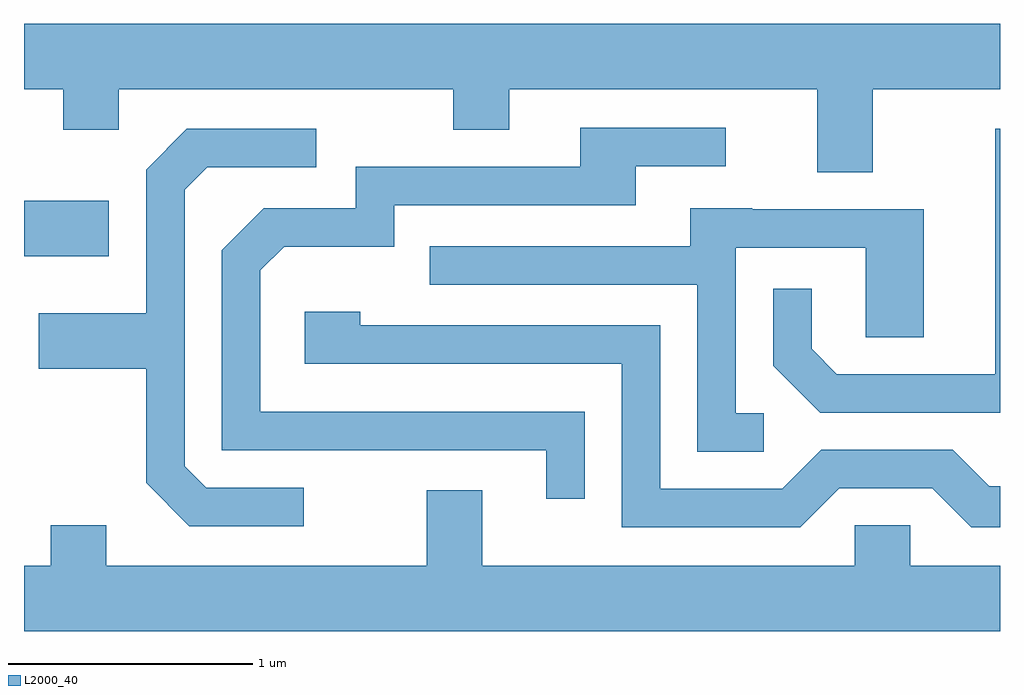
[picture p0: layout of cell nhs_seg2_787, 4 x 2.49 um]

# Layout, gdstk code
import gdstk
lib = gdstk.Library(unit=1e-6, precision=1e-09)
def R(c, l, rs):  # rectangles x0, y0, x1, y1
    for r in rs: c.add(gdstk.rectangle(r[:2], r[2:], *l))
def P(c, l, *ps):  # polygons
    for p in ps: c.add(gdstk.Polygon(p, *l))
L2000_40 = (2000, 40)

nhs_seg2_787 = lib.new_cell('nhs_seg2_787')
R(nhs_seg2_787, L2000_40, [(207.611,1058.731,207.959,1058.959)])
P(nhs_seg2_787, L2000_40, [(211.089,1059.416),(211.611,1059.416),(211.611,1059.684),(207.611,1059.684),(207.611,1059.416),(207.771,1059.416),(207.771,1059.251),(207.999,1059.251),(207.999,1059.416),(209.371,1059.416),(209.371,1059.251),(209.599,1059.251),(209.599,1059.416),(210.861,1059.416),(210.861,1059.076),(211.089,1059.076)],
  [(209.909,1058.094),(208.579,1058.094),(208.579,1058.674),(208.677,1058.771),(209.129,1058.771),(209.129,1058.941),(210.119,1058.941),(210.119,1059.101),(210.488,1059.101),(210.488,1059.259),(209.891,1059.259),(209.891,1059.099),(208.971,1059.099),(208.971,1058.929),(208.594,1058.929),(208.421,1058.757),(208.421,1057.936),(209.751,1057.936),(209.751,1057.738),(209.909,1057.738)],
  [(208.758,1057.784),(208.357,1057.784),(208.269,1057.872),(208.269,1059.004),(208.362,1059.096),(208.808,1059.096),(208.808,1059.254),(208.279,1059.254),(208.111,1059.087),(208.111,1058.499),(207.671,1058.499),(207.671,1058.271),(208.111,1058.271),(208.111,1057.804),(208.289,1057.626),(208.758,1057.626)],
  [(211.611,1059.254),(211.591,1059.254),(211.591,1058.249),(210.942,1058.249),(210.839,1058.352),(210.839,1058.598),(210.681,1058.598),(210.681,1058.284),(210.874,1058.091),(211.611,1058.091)],
  [(210.643,1058.089),(210.529,1058.089),(210.529,1058.766),(211.061,1058.766),(211.061,1058.401),(211.299,1058.401),(211.299,1058.924),(210.595,1058.924),(210.595,1058.929),(210.341,1058.929),(210.341,1058.774),(209.273,1058.774),(209.273,1058.616),(210.371,1058.616),(210.371,1057.931),(210.643,1057.931)],
  [(210.952,1057.781),(211.334,1057.781),(211.494,1057.621),(211.611,1057.621),(211.611,1057.789),(211.567,1057.789),(211.417,1057.939),(210.879,1057.939),(210.719,1057.779),(210.219,1057.779),(210.219,1058.449),(208.989,1058.449),(208.989,1058.504),(208.761,1058.504),(208.761,1058.291),(210.061,1058.291),(210.061,1057.621),(210.792,1057.621)],
  [(211.611,1057.464),(211.244,1057.464),(211.244,1057.629),(211.016,1057.629),(211.016,1057.464),(209.489,1057.464),(209.489,1057.774),(209.261,1057.774),(209.261,1057.464),(207.949,1057.464),(207.949,1057.629),(207.721,1057.629),(207.721,1057.464),(207.611,1057.464),(207.611,1057.196),(211.611,1057.196)])

lib.write_gds('nhs_seg2_787.gds')
